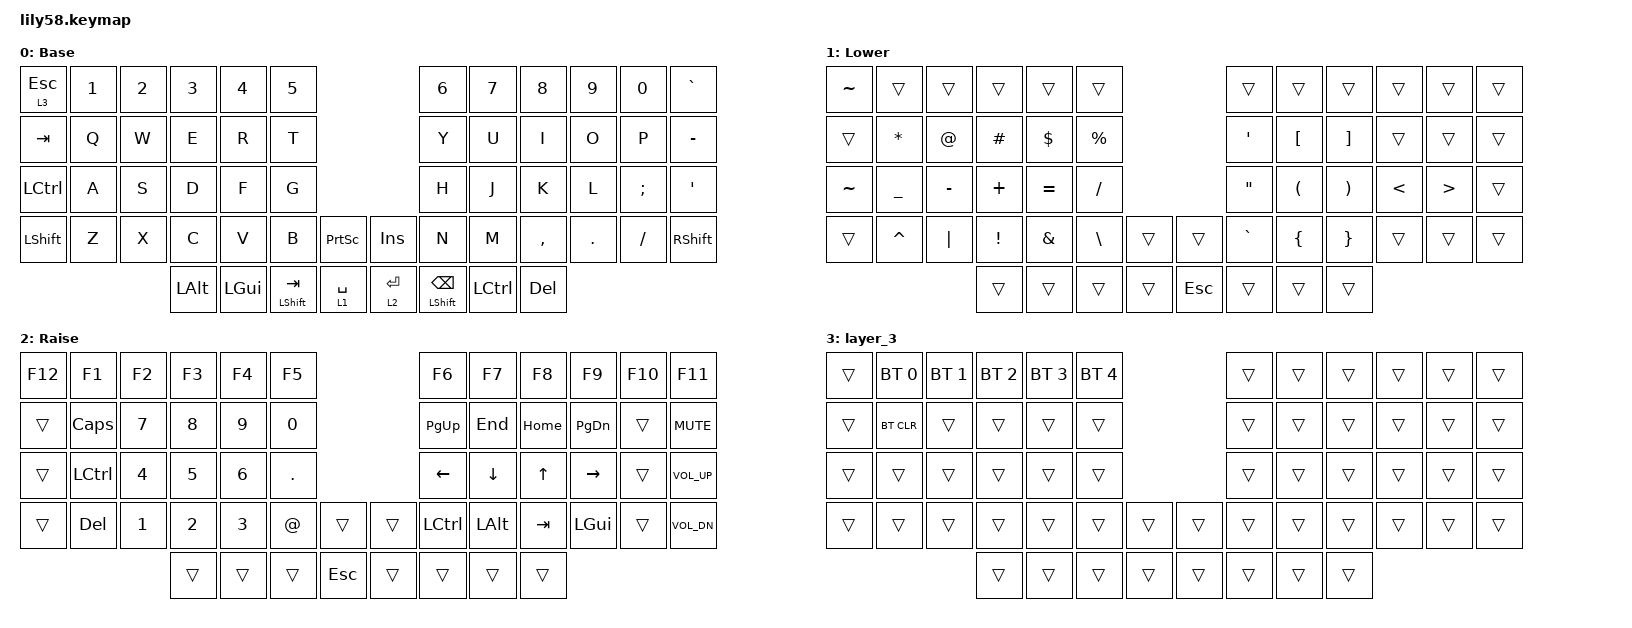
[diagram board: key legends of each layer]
/*
 * Copyright (c) 2020 The ZMK Contributors
 *
 * SPDX-License-Identifier: MIT
 */

#include <behaviors.dtsi>
#include <dt-bindings/zmk/bt.h>
#include <dt-bindings/zmk/keys.h>

/ {
    keymap {
        compatible = "zmk,keymap";

        default_layer {
            // ------------------------------------------------------------------------------------------------------------
            // |  ESC  |  1  |  2  |  3   |  4   |  5   |                   |  6   |  7    |  8    |  9   |   0   |   `   |
            // |  TAB  |  Q  |  W  |  E   |  R   |  T   |                   |  Y   |  U    |  I    |  O   |   P   |   -   |
            // |  CTRL |  A  |  S  |  D   |  F   |  G   |                   |  H   |  J    |  K    |  L   |   ;   |   '   |
            // | SHIFT |  Z  |  X  |  C   |  V   |  B   |   "["  |  |  "]"  |  N   |  M    |  ,    |  .   |   /   | SHIFT |
            //                     | ALT  | GUI  | LOWER|  SPACE |  | ENTER | RAISE| BSPC  | GUI   |

            label = "Base";
            bindings = <
&lt 3 ESCAPE  &kp N1  &kp N2  &kp N3    &kp N4    &kp N5                                              &kp N6                    &kp N7            &kp N8      &kp N9   &kp N0    &kp GRAVE
&kp TAB       &kp Q   &kp W   &kp E     &kp R     &kp T                                               &kp Y                     &kp U             &kp I       &kp O    &kp P     &kp MINUS
&kp LCTRL     &kp A   &kp S   &kp D     &kp F     &kp G                                               &kp H                     &kp J             &kp K       &kp L    &kp SEMI  &kp SQT
&kp LSHFT     &kp Z   &kp X   &kp C     &kp V     &kp B               &kp PRINTSCREEN    &kp INS      &kp N                     &kp M             &kp COMMA   &kp DOT  &kp FSLH  &kp RSHFT
                              &kp LALT  &kp LGUI  &mt LEFT_SHIFT TAB  &lt 1 SPACE        &lt 2 ENTER  &mt LEFT_SHIFT BACKSPACE  &kp LEFT_CONTROL  &kp DELETE
            >;
        };

        lower_layer {
            // ------------------------------------------------------------------------------------------------------------
            // | BTCLR | BT1 | BT2 |  BT3 |  BT4 |  BT5 |                   |      |       |       |      |       |       |
            // |  F1   |  F2 |  F3 |  F4  |  F5  |  F6  |                   |  F7  |  F8   |  F9   |  F10 |  F11  |  F12  |
            // |   `   |  !  |  @  |  #   |  $   |  %   |                   |  ^   |  &    |  *    |  (   |   )   |   ~   |
            // |       |     |     |      |      |      |        |  |       |      |  _    |  +    |  {   |   }   |  "|"  |
            //                     |      |      |      |        |  |       |      |       |       |

            label = "Lower";
            bindings = <
&kp TILDE  &trans     &trans     &trans    &trans      &trans                               &trans             &trans                &trans                 &trans         &trans            &trans
&trans     &kp ASTRK  &kp AT     &kp HASH  &kp DOLLAR  &kp PERCENT                          &kp SINGLE_QUOTE   &kp LEFT_BRACKET      &kp RIGHT_BRACKET      &trans         &trans            &trans
&kp TILDE  &kp UNDER  &kp MINUS  &kp PLUS  &kp EQUAL   &kp SLASH                            &kp DOUBLE_QUOTES  &kp LEFT_PARENTHESIS  &kp RIGHT_PARENTHESIS  &kp LESS_THAN  &kp GREATER_THAN  &trans
&trans     &kp CARET  &kp PIPE   &kp EXCL  &kp AMPS    &kp BACKSLASH  &trans    &trans      &kp GRAVE          &kp LEFT_BRACE        &kp RIGHT_BRACE        &trans         &trans            &trans
                                 &trans    &trans      &trans         &trans    &kp ESCAPE  &trans             &trans                &trans
            >;
        };

        raise_layer {
            // ------------------------------------------------------------------------------------------------------------
            // |       |     |     |      |      |      |                   |      |       |       |      |       |       |
            // |   `   |  1  |  2  |  3   |  4   |  5   |                   |  6   |   7   |   8   |  9   |   0   |       |
            // |   F1  |  F2 |  F3 |  F4  |  F5  |  F6  |                   |      |   <-  |   v   |  ^   |  ->   |       |
            // |   F7  |  F8 |  F9 |  F10 |  F11 |  F12 |        |  |       |  +   |   -   |   =   |  [   |   ]   |   \   |
            //                     |      |      |      |        |  |       |      |       |       |

            label = "Raise";
            bindings = <
&kp F12  &kp F1            &kp F2        &kp F3        &kp F4        &kp F5                         &kp F6            &kp F7          &kp F8        &kp F9         &kp F10  &kp F11
&trans   &kp CAPS          &kp N7        &kp N8        &kp N9        &kp N0                         &kp PAGE_UP       &kp END         &kp HOME      &kp PAGE_DOWN  &trans   &kp C_MUTE
&trans   &kp LEFT_CONTROL  &kp NUMBER_4  &kp N5        &kp NUMBER_6  &kp DOT                        &kp LEFT_ARROW    &kp DOWN_ARROW  &kp UP_ARROW  &kp RIGHT      &trans   &kp C_VOLUME_UP
&trans   &kp DELETE        &kp NUMBER_1  &kp NUMBER_2  &kp NUMBER_3  &kp AT   &trans        &trans  &kp LEFT_CONTROL  &kp LEFT_ALT    &kp TAB       &kp LEFT_GUI   &trans   &kp C_VOL_DN
                                         &trans        &trans        &trans   &kp ESCAPE    &trans  &trans            &trans          &trans
            >;
        };

        layer_3 {
            bindings = <
&trans  &bt BT_SEL 0  &bt BT_SEL 1  &bt BT_SEL 2  &bt BT_SEL 3  &bt BT_SEL 4                    &trans  &trans  &trans  &trans  &trans  &trans
&trans  &bt BT_CLR    &trans        &trans        &trans        &trans                          &trans  &trans  &trans  &trans  &trans  &trans
&trans  &trans        &trans        &trans        &trans        &trans                          &trans  &trans  &trans  &trans  &trans  &trans
&trans  &trans        &trans        &trans        &trans        &trans        &trans    &trans  &trans  &trans  &trans  &trans  &trans  &trans
                                    &trans        &trans        &trans        &trans    &trans  &trans  &trans  &trans
            >;
        };
    };
};
